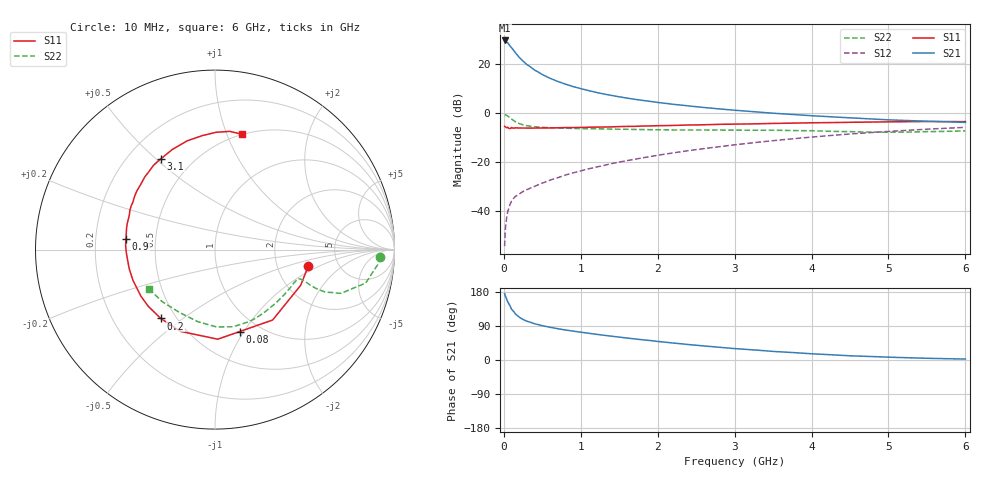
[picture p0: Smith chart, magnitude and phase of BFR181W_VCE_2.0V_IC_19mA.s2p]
! Infineon Technologies  Discrete & RF Semiconductors
! BFR181W
! VCE =  2.0 V,  IC =  19 mA
! Common Emitter S-Parameters:  Jan 2017
# GHz  S  MA  R  50
!  f  S11  S21  S12  S22
! GHz  MAG  ANG  MAG  ANG  MAG  ANG  MAG  ANG
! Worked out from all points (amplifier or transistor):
!   77 points, 10 MHz to 6 GHz, reference 50 ohm
!   highest |S21| = 29.5 dB at 10 MHz (marker M1)
!   |S21| within 3 dB of that: start of sweep to 101.2 MHz
!   unconditionally stable (mu >= 1): start of sweep to 10.00596 MHz; 351.7 MHz to 2.911 GHz
!   at 130 MHz: K = 0.55, MSG = 30.1 dB, |S12| = -34.8 dB
!   at 2.2 GHz: K = 1.13, MAG = 7.8 dB, |S12| = -16.4 dB
!   at 6 GHz: K = 0.98, MSG = 1.0 dB, |S12| = -5.9 dB
!   S11 on the Smith chart (normalised r, x): 10 MHz: 3.01, -0.78; 80 MHz: 0.81, -0.96; 200 MHz: 0.41, -0.42; 900 MHz: 0.34, +0.05; 3.1 GHz: 0.34, +0.52; 6 GHz: 0.50, +1.13
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0.01  0.5275 -10.2  29.87 175.1  0.0019 79.4  0.9224 -2.5
0.02  0.5171 -22.7  29.21 168.7  0.0043 80.6  0.9113 -5.2
0.05  0.507 -50.7  26.77 153.5  0.0095 71.9  0.86 -12.5
0.08  0.4768 -73.2  23.13 142.9  0.0133 64.8  0.7895 -16.2
0.1  0.4994 -88.2  21.27 134.0  0.0159 62.0  0.7446 -19.1
0.15  0.4942 -112.7  16.8 121.6  0.0197 56.4  0.6565 -21.1
0.2  0.4885 -128.3  13.55 113.0  0.022 56.7  0.6023 -21.0
0.25  0.4879 -139.8  11.31 106.9  0.0249 56.6  0.5676 -20.5
0.3  0.4875 -147.8  9.636 102.3  0.027 56.9  0.5441 -19.8
0.4  0.4882 -159.4  7.439 95.5  0.0316 60.4  0.5184 -19.1
0.5  0.4897 -167.3  6.017 90.5  0.0367 63.6  0.5045 -19.0
0.6  0.4906 -173.5  5.063 86.3  0.0423 66.2  0.4949 -19.3
0.7  0.4947 -178.4  4.364 82.7  0.0473 68.6  0.4885 -19.9
0.9  0.499 173.0  3.426 76.2  0.0594 71.6  0.48 -22.1
1.1  0.5069 166.4  2.836 70.7  0.0718 74.0  0.474 -24.8
1.3  0.5119 160.2  2.417 65.3  0.0844 74.9  0.4682 -27.9
1.5  0.5226 155.1  2.115 60.4  0.0987 75.5  0.462 -31.4
2.1  0.5476 140.6  1.557 47.0  0.1438 75.2  0.4483 -43.9
3.1  0.5894 120.6  1.096 28.8  0.2313 69.2  0.4417 -67.5
4.1  0.6273 102.7  0.854 15.4  0.3288 59.7  0.4252 -91.7
5.1  0.655 88.2  0.708 6.9  0.4254 48.0  0.402 -122.7
6  0.6601 76.9  0.636 2.5  0.5046 36.6  0.4279 -149.1
